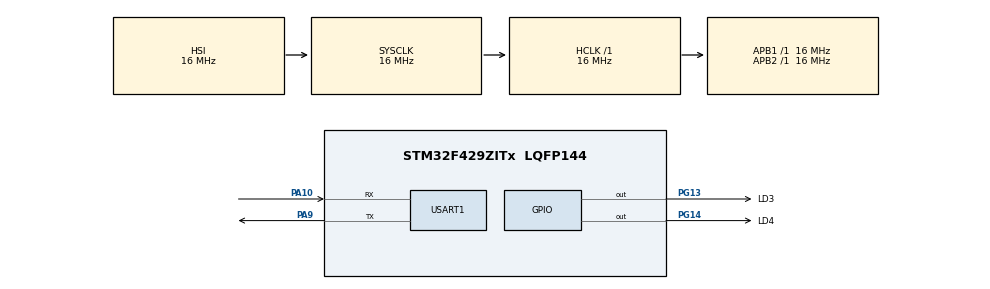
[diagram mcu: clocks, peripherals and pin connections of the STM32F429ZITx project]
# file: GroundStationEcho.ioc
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Mcu.Family=STM32F4
Mcu.Name=STM32F429ZITx
Mcu.Package=LQFP144
NVIC.PriorityGroup=NVIC_PRIORITYGROUP_4
NVIC.USART1_IRQn=true\:0\:0\:false\:false\:true\:true\:true
PA10.Mode=Asynchronous
PA10.Signal=USART1_RX
PA9.Mode=Asynchronous
PA9.Signal=USART1_TX
PG13.GPIO_Label=LD3
PG13.Signal=GPIO_Output
PG14.GPIO_Label=LD4
PG14.Signal=GPIO_Output
ProjectManager.HeapSize=0x200
ProjectManager.StackSize=0x400
ProjectManager.TargetToolchain=STM32CubeIDE
RCC.AHBFreq_Value=16000000
RCC.APB1Freq_Value=16000000
RCC.APB2Freq_Value=16000000
RCC.CortexFreq_Value=16000000
RCC.HSE_VALUE=25000000
RCC.HSI_VALUE=16000000
RCC.LSE_VALUE=32768
RCC.SYSCLKFreq_VALUE=16000000
RCC.VCOOutputFreq_Value=192000000
USART1.VirtualMode=VM_ASYNC
board=custom

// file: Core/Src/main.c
/* USER CODE BEGIN Header */
/**
  ******************************************************************************
  * @file           : main.c
  * @brief          : Main program body
  ******************************************************************************
  * @attention
  *
  * <h2><center>&copy; Copyright (c) 2020 STMicroelectronics.
  * All rights reserved.</center></h2>
  *
  * This software component is licensed by ST under BSD 3-Clause license,
  * the "License"; You may not use this file except in compliance with the
  * License. You may obtain a copy of the License at:
  *                        opensource.org/licenses/BSD-3-Clause
  *
  ******************************************************************************
  */
/* USER CODE END Header */
#include "main.h"
#include "usart.h"
#include "gpio.h"
#include <stdio.h>
#include <stdarg.h>
#include <string.h>
#include <time.h>
#include <stdlib.h>
#include <stdint.h>

/* USER CODE BEGIN PD */
#define PING 0
#define SHUTOFF_BEACON 1
#define ENTER_MAIN_OP_PHASE 2
#define BASIC_HEALTH_CHECK 3
#define BATTERY_VOLTAGE 4
#define SDR_POWER_STATUS 5
#define TIME_SET_REQUEST 6
#define EOL 7
#define UNKNOWN_PACKET 8
/* USER CODE END PD */

void SystemClock_Config(void);
/* USER CODE BEGIN PFP */
HAL_StatusTypeDef debugSerialSendHello();
HAL_StatusTypeDef debug_printf(char* format, uint8_t *data);
void debugPrint(int len, uint8_t data[]);
int debugSerialReceive(uint8_t *data);
int parse_packet_command(int len, uint8_t *data);

/* USER CODE END PFP */

int main(void)
{

  /* MCU Configuration--------------------------------------------------------*/

  /* Reset of all peripherals, Initializes the Flash interface and the Systick. */

	HAL_Init();

  /* Configure the system clock */
  SystemClock_Config();

  /* Initialize all configured peripherals */
  MX_GPIO_Init();
  MX_USART1_UART_Init();
  /* USER CODE BEGIN 2 */
  int bytes = 0;
  uint8_t data[260] = {0};
  srand(time(NULL));
  /* USER CODE END 2 */

  /* Infinite loop */
  while (1)
  {
	  for(int i =0; i < 260; i++){
		  data[i] = 0;
	  }
	  bytes = debugSerialReceive(data);
	  if(bytes){
		  // Get command type
		  int packet_type = parse_packet_command(bytes, data);

		  // Don't respond to improper commands
		  if(packet_type == UNKNOWN_PACKET) continue;

		  // Reconstitute packet then reply
  	  	  *(data+2) = *(data+2) - 1; //Response -> reply
  		  uint8_t cs = *(data+bytes-1); //Capture checksum for now
		  switch(packet_type){
		  	  // Transform response
		  	  case PING: ;
		  	  case SHUTOFF_BEACON: ;
		  	  case ENTER_MAIN_OP_PHASE: ;
		  	  case EOL: ;
			  	  HAL_UART_Transmit(&huart1, data, bytes, 10);
			  	  break;

			  // Respond with IEEE-754 floating point for 4.5
		  	  case BATTERY_VOLTAGE: ;
		  		  // Set data length to 1
		  		  *(data+3) = 0x04;
		  		  // Shift data
		  		  *(data+7) = 0x40;
		  		  *(data+6) = 0x90;
		  		  *(data+5) = 0x00;
		  		  *(data+4) = 0x00;
		  		  *(data+8) = cs;
		  		  HAL_UART_Transmit(&huart1, data, bytes+4, 10);
		  		  break;

		  	  case SDR_POWER_STATUS: ;
	  	  	  	  // Simply respond that we got it
	  	  	  	  *(data+3) = 0x03;
	  	  	  	  *(data+4) = 'S';
	  	  	  	  *(data+5) = 'D';
	  	  	  	  *(data+6) = 'R';
	  	  	  	  *(data+7) = cs;
	  	  	  	  HAL_UART_Transmit(&huart1, data, 8, 10);
	  	  	  	  break;

		  	  case TIME_SET_REQUEST: ;
	  	  	  	  // Echo it
		  	  	  HAL_UART_Transmit(&huart1, data, bytes, 10);
		  	  	  break;

		  	  case BASIC_HEALTH_CHECK: ;
	  	  	  	  // Simply respond that we got it
		  	  	  *(data+3) = 0x03;
		  	  	  *(data+4) = 'B';
		  	  	  *(data+5) = 'H';
		  	  	  *(data+6) = 'C';
		  	  	  *(data+7) = cs;
		  	  	  HAL_UART_Transmit(&huart1, data, 8, 10);
		  	  	  break;
		  }
	  }
  }
}

void SystemClock_Config(void)
{
  RCC_OscInitTypeDef RCC_OscInitStruct = {0};
  RCC_ClkInitTypeDef RCC_ClkInitStruct = {0};

  /** Configure the main internal regulator output voltage
  */
  __HAL_RCC_PWR_CLK_ENABLE();
  __HAL_PWR_VOLTAGESCALING_CONFIG(PWR_REGULATOR_VOLTAGE_SCALE3);
  /** Initializes the RCC Oscillators according to the specified parameters
  * in the RCC_OscInitTypeDef structure.
  */
  RCC_OscInitStruct.OscillatorType = RCC_OSCILLATORTYPE_HSI;
  RCC_OscInitStruct.HSIState = RCC_HSI_ON;
  RCC_OscInitStruct.HSICalibrationValue = RCC_HSICALIBRATION_DEFAULT;
  RCC_OscInitStruct.PLL.PLLState = RCC_PLL_NONE;
  if (HAL_RCC_OscConfig(&RCC_OscInitStruct) != HAL_OK)
  {
    Error_Handler();
  }
  /** Initializes the CPU, AHB and APB buses clocks
  */
  RCC_ClkInitStruct.ClockType = RCC_CLOCKTYPE_HCLK|RCC_CLOCKTYPE_SYSCLK
                              |RCC_CLOCKTYPE_PCLK1|RCC_CLOCKTYPE_PCLK2;
  RCC_ClkInitStruct.SYSCLKSource = RCC_SYSCLKSOURCE_HSI;
  RCC_ClkInitStruct.AHBCLKDivider = RCC_SYSCLK_DIV1;
  RCC_ClkInitStruct.APB1CLKDivider = RCC_HCLK_DIV1;
  RCC_ClkInitStruct.APB2CLKDivider = RCC_HCLK_DIV1;

  if (HAL_RCC_ClockConfig(&RCC_ClkInitStruct, FLASH_LATENCY_0) != HAL_OK)
  {
    Error_Handler();
  }
}

/* USER CODE BEGIN 4 */
HAL_StatusTypeDef debugSerialSendHello(){
	HAL_StatusTypeDef status = HAL_ERROR;
	uint8_t message[] = "Hello, Ground Station!";
	int len = sizeof(message)/sizeof(uint8_t);
	if(len){
		status = HAL_UART_Transmit(&huart1, message, len, 1000);
		uint8_t crlf[] = "\r\n";
		status = HAL_UART_Transmit(&huart1, crlf, 2, 1000);
	} {
		status = HAL_ERROR;
	}
	return status;
}

int debugSerialReceive(uint8_t *data){
	HAL_StatusTypeDef status;

	uint8_t byte;
	size_t bytes = 0;
	status = HAL_UART_Receive(&huart1, &byte, 1, 10);
	if(byte != 0xff){
		return 0;
	}

	while(status != HAL_TIMEOUT){
	    data[bytes] = byte;
	    bytes++;
	    if(bytes == 260) break;
	    status = HAL_UART_Receive(&huart1, &byte, 1, 10);
    }
	return bytes;
}

int parse_packet_command(int len, uint8_t *data){
	if(len < 4) return UNKNOWN_PACKET;
	if(*(data) != 0xff) return UNKNOWN_PACKET;

	// OBC Commands
	if(*(data+1) == 0x0a){
		if(*(data+2) == 0x01) return PING;
		else if(*(data+2) == 0x03) return SHUTOFF_BEACON;
		else if(*(data+2) == 0x05) return BASIC_HEALTH_CHECK;
		else if(*(data+2) == 0x07) return ENTER_MAIN_OP_PHASE;
	}
	//EPS Commands
	if(*(data+1) == 0x1e){
		if(*(data+2) == 0x01) return BATTERY_VOLTAGE;
	}
	//SDR Commands
	if(*(data+1) == 0x28){
		if(*(data+2) == 0x01) return SDR_POWER_STATUS;
		else if(*(data+2) == 0x11) return TIME_SET_REQUEST;
	}
	//EOL Command
	if(*(data+1) == 0x5a){
		if(*(data+2) == 0x01) return EOL;
	}
	return UNKNOWN_PACKET;
}

void debugPrint(int len, uint8_t *data){
	HAL_UART_Transmit(&huart1, data, len, 10);
	uint8_t crlf[] = "\r\n";
	HAL_UART_Transmit(&huart1, crlf, 2, 10);
}

int isPingRequest(int len, uint8_t *data){
	if(len == 5){
		if(*(data+0) == 0xff &&
				*(data+1) == 0x0a &&
				*(data+2) == 0x01 &&
				*(data+3) == 0x00){
			return 1;
		}
	}
	return 0;
}

HAL_StatusTypeDef debug_printf(char* format, uint8_t *data){

    uint32_t bufferSize = 512;
    uint8_t formatBuffer[bufferSize];
    sprintf(formatBuffer, format, data);
    int len = strlen(formatBuffer);
    HAL_StatusTypeDef status = HAL_ERROR;
    if (len > 0) {
        status = HAL_UART_Transmit(&huart1, formatBuffer, len, 1000);
        uint8_t crlf[] = "\r\n";
        status = HAL_UART_Transmit(&huart1, crlf, 2, 1000); //sends a carriage return and a line feed to UART (meant for putty/windows)
    }
    else{
        status = HAL_ERROR;
    }

    return status;
}

/* USER CODE END 4 */

void Error_Handler(void)
{
}

/************************ (C) COPYRIGHT STMicroelectronics *****END OF FILE****/
